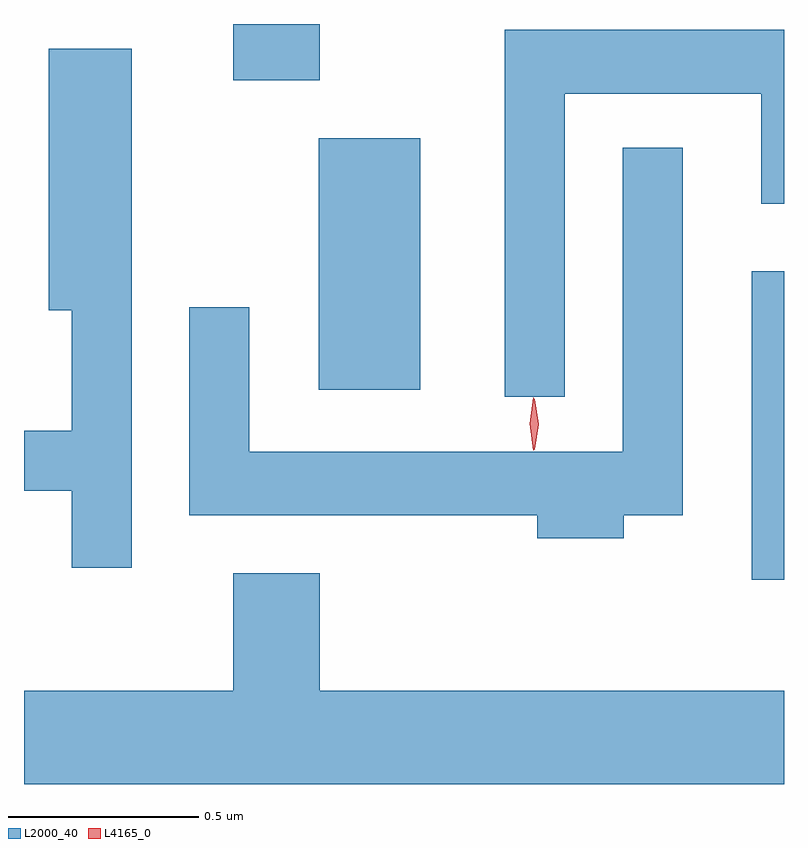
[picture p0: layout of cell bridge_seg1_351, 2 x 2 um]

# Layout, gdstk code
import gdstk
lib = gdstk.Library(unit=1e-6, precision=1e-09)
def R(c, l, rs):  # rectangles x0, y0, x1, y1
    for r in rs: c.add(gdstk.rectangle(r[:2], r[2:], *l))
def P(c, l, *ps):  # polygons
    for p in ps: c.add(gdstk.Polygon(p, *l))
L2000_40 = (2000, 40)
L4165_0 = (4165, 0)

bridge_seg1_351 = lib.new_cell('bridge_seg1_351')
R(bridge_seg1_351, L2000_40, [(926.806,882.376,926.891,883.189), (925.666,882.876,925.934,883.539), (925.441,883.691,925.669,883.839)])
P(bridge_seg1_351, L2000_40, [(926.314,883.656),(926.831,883.656),(926.831,883.366),(926.891,883.366),(926.891,883.824),(926.156,883.824),(926.156,882.858),(926.314,882.858)],
  [(925.174,883.774),(924.956,883.774),(924.956,883.086),(925.016,883.086),(925.016,882.769),(924.891,882.769),(924.891,882.611),(925.016,882.611),(925.016,882.408),(925.174,882.408)],
  [(926.469,882.546),(926.624,882.546),(926.624,883.513),(926.466,883.513),(926.466,882.714),(925.484,882.714),(925.484,883.093),(925.326,883.093),(925.326,882.546),(926.241,882.546),(926.241,882.486),(926.469,882.486)],
  [(926.891,882.084),(925.669,882.084),(925.669,882.394),(925.441,882.394),(925.441,882.084),(924.891,882.084),(924.891,881.839),(926.891,881.839)])
P(bridge_seg1_351, L4165_0, [(926.235,882.719),(926.234,882.72),(926.225,882.786),(926.234,882.852),(926.235,882.853),(926.235,882.852),(926.245,882.786),(926.235,882.72)],
  [(926.231,882.717),(926.222,882.787),(926.231,882.856),(926.232,882.856),(926.232,882.856),(926.242,882.787),(926.232,882.717),(926.232,882.717)])

lib.write_gds('bridge_seg1_351.gds')
